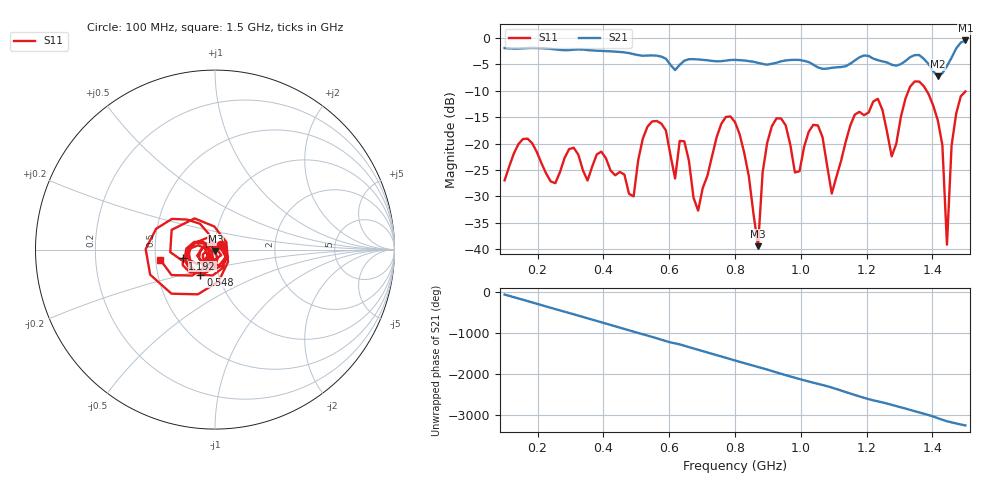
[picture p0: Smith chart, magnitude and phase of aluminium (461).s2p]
! NanoVNA-App
! Date: 2025-09-25 14:58:52
! Start: 100MHz Stop: 1,5GHz Points: 101
! S-Parameter data: F S11 S21 S12 S22
# Hz S RI R 50
!  Frequency  S11_Real  S11_Imag  S21_Real  S21_Imag  S12_Real  S12_Imag  S22_Real  S22_Imag
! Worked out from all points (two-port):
!   101 points, 100 MHz to 1.5 GHz, reference 50 ohm
!   highest |S21| = -0.48 dB at 1.5 GHz (marker M1); lowest = -7.2 dB at 1.416 GHz (marker M2)
!   |S21| within 3 dB of the highest: start of sweep to 571.6 MHz; 1.46 GHz to end of sweep (the widest 2 of 4)
!   lowest |S11| = -39.4 dB at 870 MHz (marker M3), VSWR 1.02, Z = 50.2 - j1.06 ohm
!   |S11| at or under -10 dB: start of sweep to 1.327 GHz; 1.382 GHz to end of sweep
!   S12 and S22 are empty: the file has one direction only
!   S11 on the Smith chart (normalised r, x): 100 MHz: 1.07, +0.06; 548 MHz: 0.82, -0.24; 1.192 GHz: 0.69, -0.07; 1.5 GHz: 0.53, -0.06
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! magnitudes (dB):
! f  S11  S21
! 100 MHz  -27.0  -1.9
! 156 MHz  -19.1  -2.0
! 338 MHz  -25.1  -2.2
! 492 MHz  -30.0  -3.1
! 548 MHz  -15.8  -3.3
! 576 MHz  -16.2  -3.5
! 688 MHz  -32.7  -4.1
! 800 MHz  -15.9  -4.2
! 870 MHz  -39.4  -4.7
! 912 MHz  -16.7  -4.9
! 982 MHz  -25.5  -4.1
! 1.038 GHz  -16.4  -5.1
! 1.094 GHz  -29.5  -5.7
! 1.192 GHz  -14.6  -3.3
! 1.234 GHz  -11.5  -4.2
! 1.276 GHz  -22.4  -5.1
! 1.346 GHz  -8.2  -3.3
! 1.416 GHz  -15.6  -7.2
! 1.43 GHz  -20.3  -6.7
! 1.444 GHz  -39.1  -5.3
! 1.458 GHz  -20.4  -3.7
! 1.5 GHz  -10.1  -0.5
